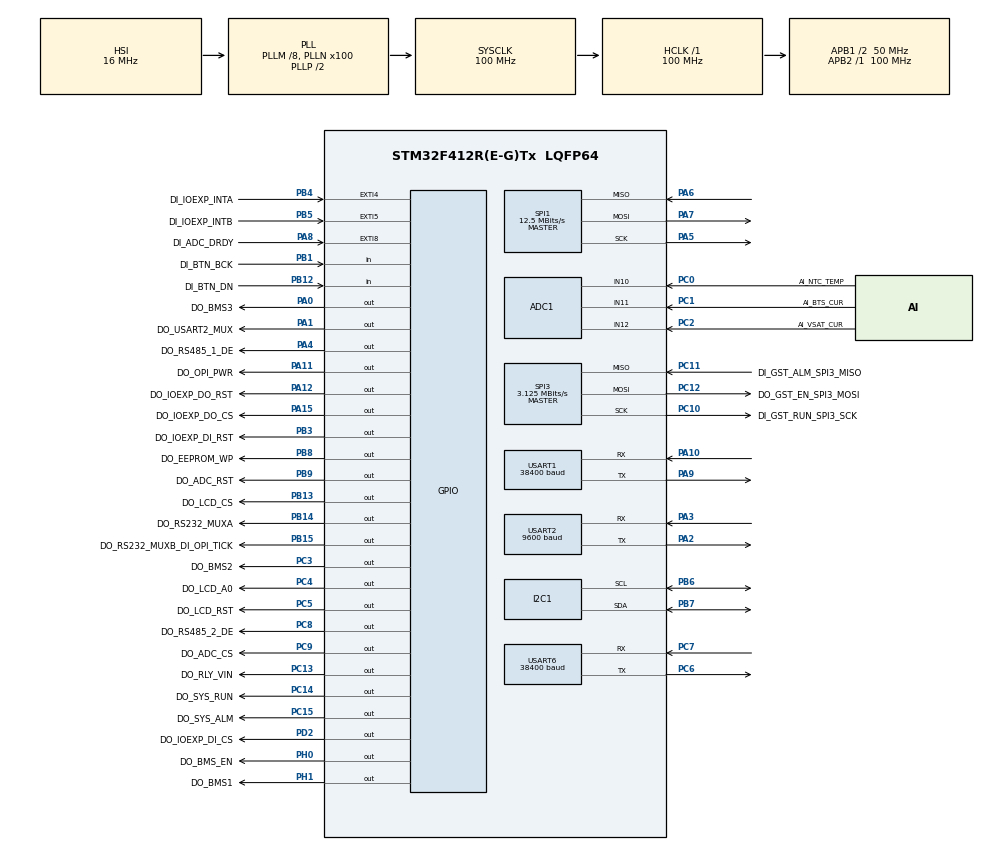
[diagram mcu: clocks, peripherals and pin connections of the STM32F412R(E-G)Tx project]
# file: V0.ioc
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ADC1.Channel-14\#ChannelRegularConversion=ADC_CHANNEL_10
ADC1.Channel-15\#ChannelRegularConversion=ADC_CHANNEL_11
ADC1.Channel-16\#ChannelRegularConversion=ADC_CHANNEL_12
ADC1.Channel-17\#ChannelRegularConversion=ADC_CHANNEL_TEMPSENSOR
ADC1.ClockPrescaler=ADC_CLOCK_SYNC_PCLK_DIV8
ADC1.ContinuousConvMode=ENABLE
ADC1.DMAContinuousRequests=ENABLE
ADC1.EOCSelection=ADC_EOC_SEQ_CONV
ADC1.NbrOfConversion=4
ADC1.NbrOfConversionFlag=1
ADC1.Rank-14\#ChannelRegularConversion=1
ADC1.Rank-15\#ChannelRegularConversion=2
ADC1.Rank-16\#ChannelRegularConversion=3
ADC1.Rank-17\#ChannelRegularConversion=4
ADC1.SamplingTime-14\#ChannelRegularConversion=ADC_SAMPLETIME_480CYCLES
ADC1.SamplingTime-15\#ChannelRegularConversion=ADC_SAMPLETIME_480CYCLES
ADC1.SamplingTime-16\#ChannelRegularConversion=ADC_SAMPLETIME_480CYCLES
ADC1.SamplingTime-17\#ChannelRegularConversion=ADC_SAMPLETIME_480CYCLES
ADC1.ScanConvMode=ENABLE
ADC1.master=1
Dma.ADC1.2.Direction=DMA_PERIPH_TO_MEMORY
Dma.ADC1.2.FIFOMode=DMA_FIFOMODE_DISABLE
Dma.ADC1.2.Instance=DMA2_Stream0
Dma.ADC1.2.MemDataAlignment=DMA_MDATAALIGN_WORD
Dma.ADC1.2.MemInc=DMA_MINC_ENABLE
Dma.ADC1.2.Mode=DMA_CIRCULAR
Dma.ADC1.2.PeriphDataAlignment=DMA_PDATAALIGN_WORD
Dma.ADC1.2.PeriphInc=DMA_PINC_DISABLE
Dma.ADC1.2.Priority=DMA_PRIORITY_LOW
Dma.Request0=USART1_TX
Dma.Request1=USART6_TX
Dma.Request2=ADC1
Dma.Request3=USART2_TX
Dma.Request4=SPI1_RX
Dma.Request5=SPI1_TX
Dma.SPI1_RX.4.Direction=DMA_PERIPH_TO_MEMORY
Dma.SPI1_RX.4.FIFOMode=DMA_FIFOMODE_DISABLE
Dma.SPI1_RX.4.Instance=DMA2_Stream2
Dma.SPI1_RX.4.MemDataAlignment=DMA_MDATAALIGN_BYTE
Dma.SPI1_RX.4.MemInc=DMA_MINC_ENABLE
Dma.SPI1_RX.4.Mode=DMA_NORMAL
Dma.SPI1_RX.4.PeriphDataAlignment=DMA_PDATAALIGN_BYTE
Dma.SPI1_RX.4.PeriphInc=DMA_PINC_DISABLE
Dma.SPI1_RX.4.Priority=DMA_PRIORITY_LOW
Dma.SPI1_TX.5.Direction=DMA_MEMORY_TO_PERIPH
Dma.SPI1_TX.5.FIFOMode=DMA_FIFOMODE_DISABLE
Dma.SPI1_TX.5.Instance=DMA2_Stream3
Dma.SPI1_TX.5.MemDataAlignment=DMA_MDATAALIGN_BYTE
Dma.SPI1_TX.5.MemInc=DMA_MINC_ENABLE
Dma.SPI1_TX.5.Mode=DMA_NORMAL
Dma.SPI1_TX.5.PeriphDataAlignment=DMA_PDATAALIGN_BYTE
Dma.SPI1_TX.5.PeriphInc=DMA_PINC_DISABLE
Dma.SPI1_TX.5.Priority=DMA_PRIORITY_LOW
Dma.USART1_TX.0.Direction=DMA_MEMORY_TO_PERIPH
Dma.USART1_TX.0.FIFOMode=DMA_FIFOMODE_DISABLE
Dma.USART1_TX.0.Instance=DMA2_Stream7
Dma.USART1_TX.0.MemDataAlignment=DMA_MDATAALIGN_BYTE
Dma.USART1_TX.0.MemInc=DMA_MINC_ENABLE
Dma.USART1_TX.0.Mode=DMA_NORMAL
Dma.USART1_TX.0.PeriphDataAlignment=DMA_PDATAALIGN_BYTE
Dma.USART1_TX.0.PeriphInc=DMA_PINC_DISABLE
Dma.USART1_TX.0.Priority=DMA_PRIORITY_LOW
Dma.USART2_TX.3.Direction=DMA_MEMORY_TO_PERIPH
Dma.USART2_TX.3.FIFOMode=DMA_FIFOMODE_DISABLE
Dma.USART2_TX.3.Instance=DMA1_Stream6
Dma.USART2_TX.3.MemDataAlignment=DMA_MDATAALIGN_BYTE
Dma.USART2_TX.3.MemInc=DMA_MINC_ENABLE
Dma.USART2_TX.3.Mode=DMA_NORMAL
Dma.USART2_TX.3.PeriphDataAlignment=DMA_PDATAALIGN_BYTE
Dma.USART2_TX.3.PeriphInc=DMA_PINC_DISABLE
Dma.USART2_TX.3.Priority=DMA_PRIORITY_LOW
Dma.USART6_TX.1.Direction=DMA_MEMORY_TO_PERIPH
Dma.USART6_TX.1.FIFOMode=DMA_FIFOMODE_DISABLE
Dma.USART6_TX.1.Instance=DMA2_Stream6
Dma.USART6_TX.1.MemDataAlignment=DMA_MDATAALIGN_BYTE
Dma.USART6_TX.1.MemInc=DMA_MINC_ENABLE
Dma.USART6_TX.1.Mode=DMA_NORMAL
Dma.USART6_TX.1.PeriphDataAlignment=DMA_PDATAALIGN_BYTE
Dma.USART6_TX.1.PeriphInc=DMA_PINC_DISABLE
Dma.USART6_TX.1.Priority=DMA_PRIORITY_LOW
IWDG.Prescaler=IWDG_PRESCALER_256
Mcu.Family=STM32F4
Mcu.Name=STM32F412R(E-G)Tx
Mcu.Package=LQFP64
NVIC.DMA1_Stream6_IRQn=true\:0\:0\:false\:false\:true\:false\:true
NVIC.DMA2_Stream0_IRQn=true\:0\:0\:true\:false\:true\:false\:true
NVIC.DMA2_Stream2_IRQn=true\:0\:0\:false\:false\:true\:false\:true
NVIC.DMA2_Stream3_IRQn=true\:0\:0\:false\:false\:true\:false\:true
NVIC.DMA2_Stream6_IRQn=true\:0\:0\:false\:false\:true\:false\:true
NVIC.DMA2_Stream7_IRQn=true\:0\:0\:false\:false\:true\:false\:true
NVIC.EXTI4_IRQn=true\:10\:0\:true\:false\:true\:true\:true
NVIC.EXTI9_5_IRQn=true\:10\:0\:true\:false\:true\:true\:true
NVIC.PriorityGroup=NVIC_PRIORITYGROUP_4
NVIC.SPI1_IRQn=true\:10\:0\:true\:false\:true\:true\:true
NVIC.TIM6_IRQn=true\:15\:0\:true\:false\:true\:true\:true
NVIC.USART1_IRQn=true\:14\:0\:true\:false\:true\:true\:true
NVIC.USART2_IRQn=true\:14\:0\:true\:false\:true\:true\:true
NVIC.USART6_IRQn=true\:14\:0\:true\:false\:true\:true\:true
PA0.GPIO_Label=DO_BMS3
PA0.Signal=GPIO_Output
PA1.GPIO_Label=DO_USART2_MUX
PA1.Signal=GPIO_Output
PA10.Mode=Asynchronous
PA10.Signal=USART1_RX
PA11.GPIO_Label=DO_OPI_PWR
PA11.Signal=GPIO_Output
PA12.GPIO_Label=DO_IOEXP_DO_RST
PA12.PinState=GPIO_PIN_SET
PA12.Signal=GPIO_Output
PA13.Mode=Serial_Wire
PA13.Signal=SYS_JTMS-SWDIO
PA14.Mode=Serial_Wire
PA14.Signal=SYS_JTCK-SWCLK
PA15.GPIO_Label=DO_IOEXP_DO_CS
PA15.PinState=GPIO_PIN_SET
PA15.Signal=GPIO_Output
PA2.Mode=Asynchronous
PA2.Signal=USART2_TX
PA3.Mode=Asynchronous
PA3.Signal=USART2_RX
PA4.GPIO_Label=DO_RS485_1_DE
PA4.Signal=GPIO_Output
PA5.GPIO_PuPd=GPIO_PULLDOWN
PA5.Mode=Full_Duplex_Master
PA5.Signal=SPI1_SCK
PA6.GPIO_PuPd=GPIO_PULLDOWN
PA6.Mode=Full_Duplex_Master
PA6.Signal=SPI1_MISO
PA7.GPIO_PuPd=GPIO_PULLDOWN
PA7.Mode=Full_Duplex_Master
PA7.Signal=SPI1_MOSI
PA8.GPIO_Label=DI_ADC_DRDY
PA8.GPIO_ModeDefaultEXTI=GPIO_MODE_IT_FALLING
PA8.Signal=GPXTI8
PA9.Mode=Asynchronous
PA9.Signal=USART1_TX
PB0.GPIO_Label=DI_BTN_OK_PM1_ZX
PB0.GPIO_Speed=GPIO_SPEED_FREQ_LOW
PB0.Signal=S_TIM3_CH3
PB1.GPIO_Label=DI_BTN_BCK
PB1.Signal=GPIO_Input
PB10.GPIO_Label=DI_BTN_UP_PM2_ZX
PB10.GPIO_PuPd=GPIO_PULLDOWN
PB10.GPIO_Speed=GPIO_SPEED_FREQ_LOW
PB10.Signal=S_TIM2_CH3
PB12.GPIO_Label=DI_BTN_DN
PB12.Signal=GPIO_Input
PB13.GPIO_Label=DO_LCD_CS
PB13.Signal=GPIO_Output
PB14.GPIO_Label=DO_RS232_MUXA
PB14.Signal=GPIO_Output
PB15.GPIO_Label=DO_RS232_MUXB_DI_OPI_TICK
PB15.Signal=GPIO_Output
PB3.GPIO_Label=DO_IOEXP_DI_RST
PB3.PinState=GPIO_PIN_SET
PB3.Signal=GPIO_Output
PB4.GPIO_Label=DI_IOEXP_INTA
PB4.GPIO_ModeDefaultEXTI=GPIO_MODE_IT_FALLING
PB4.Signal=GPXTI4
PB5.GPIO_Label=DI_IOEXP_INTB
PB5.GPIO_ModeDefaultEXTI=GPIO_MODE_IT_FALLING
PB5.Signal=GPXTI5
PB6.Mode=I2C
PB6.Signal=I2C1_SCL
PB7.Mode=I2C
PB7.Signal=I2C1_SDA
PB8.GPIO_Label=DO_EEPROM_WP
PB8.PinState=GPIO_PIN_SET
PB8.Signal=GPIO_Output
PB9.GPIO_Label=DO_ADC_RST
PB9.PinState=GPIO_PIN_SET
PB9.Signal=GPIO_Output
PC0.GPIO_Label=AI_NTC_TEMP
PC0.Signal=ADCx_IN10
PC1.GPIO_Label=AI_BTS_CUR
PC1.Signal=ADCx_IN11
PC10.GPIO_Label=DI_GST_RUN_SPI3_SCK
PC10.Mode=Full_Duplex_Master
PC10.Signal=SPI3_SCK
PC11.GPIO_Label=DI_GST_ALM_SPI3_MISO
PC11.Mode=Full_Duplex_Master
PC11.Signal=SPI3_MISO
PC12.GPIO_Label=DO_GST_EN_SPI3_MOSI
PC12.Mode=Full_Duplex_Master
PC12.Signal=SPI3_MOSI
PC13.GPIO_Label=DO_RLY_VIN
PC13.Signal=GPIO_Output
PC14-OSC32_IN.GPIO_Label=DO_SYS_RUN
PC14-OSC32_IN.Signal=GPIO_Output
PC15-OSC32_OUT.GPIO_Label=DO_SYS_ALM
PC15-OSC32_OUT.Signal=GPIO_Output
PC2.GPIO_Label=AI_VSAT_CUR
PC2.Signal=ADCx_IN12
PC3.GPIO_Label=DO_BMS2
PC3.Signal=GPIO_Output
PC4.GPIO_Label=DO_LCD_A0
PC4.Signal=GPIO_Output
PC5.GPIO_Label=DO_LCD_RST
PC5.Signal=GPIO_Output
PC6.Mode=Asynchronous
PC6.Signal=USART6_TX
PC7.Mode=Asynchronous
PC7.Signal=USART6_RX
PC8.GPIO_Label=DO_RS485_2_DE
PC8.Signal=GPIO_Output
PC9.GPIO_Label=DO_ADC_CS
PC9.GPIO_ModeDefaultOutputPP=GPIO_MODE_OUTPUT_PP
PC9.GPIO_PuPd=GPIO_NOPULL
PC9.GPIO_Speed=GPIO_SPEED_FREQ_VERY_HIGH
PC9.PinState=GPIO_PIN_SET
PC9.Signal=GPIO_Output
PD2.GPIO_Label=DO_IOEXP_DI_CS
PD2.PinState=GPIO_PIN_SET
PD2.Signal=GPIO_Output
PH0\ -\ OSC_IN.GPIO_Label=DO_BMS_EN
PH0\ -\ OSC_IN.Signal=GPIO_Output
PH1\ -\ OSC_OUT.GPIO_Label=DO_BMS1
PH1\ -\ OSC_OUT.Signal=GPIO_Output
ProjectManager.HeapSize=0x200
ProjectManager.StackSize=0x400
ProjectManager.TargetToolchain=STM32CubeIDE
RCC.AHBFreq_Value=100000000
RCC.APB1CLKDivider=RCC_HCLK_DIV2
RCC.APB1Freq_Value=50000000
RCC.APB1TimFreq_Value=100000000
RCC.APB2Freq_Value=100000000
RCC.APB2TimFreq_Value=100000000
RCC.CortexFreq_Value=100000000
RCC.HCLKFreq_Value=100000000
RCC.HSE_VALUE=16000000
RCC.PLLM=8
RCC.PLLN=100
RCC.SYSCLKFreq_VALUE=100000000
RCC.SYSCLKSource=RCC_SYSCLKSOURCE_PLLCLK
RCC.USBFreq_Value=100000000
RCC.VCOOutputFreq_Value=200000000
SH.ADCx_IN10.0=ADC1_IN10,IN10
SH.ADCx_IN11.0=ADC1_IN11,IN11
SH.ADCx_IN12.0=ADC1_IN12,IN12
SH.S_TIM2_CH3.0=TIM2_CH3
SH.S_TIM3_CH3.0=TIM3_CH3
SPI1.BaudRatePrescaler=SPI_BAUDRATEPRESCALER_8
SPI1.CLKPhase=SPI_PHASE_2EDGE
SPI1.CLKPolarity=SPI_POLARITY_LOW
SPI1.CalculateBaudRate=12.5 MBits/s
SPI1.Direction=SPI_DIRECTION_2LINES
SPI1.Mode=SPI_MODE_MASTER
SPI1.VirtualType=VM_MASTER
SPI3.BaudRatePrescaler=SPI_BAUDRATEPRESCALER_16
SPI3.CLKPhase=SPI_PHASE_1EDGE
SPI3.CalculateBaudRate=3.125 MBits/s
SPI3.Direction=SPI_DIRECTION_2LINES
SPI3.Mode=SPI_MODE_MASTER
SPI3.VirtualType=VM_MASTER
TIM6.Period=1000
TIM6.Prescaler=99
TIM7.Prescaler=99
USART1.BaudRate=38400
USART1.VirtualMode=VM_ASYNC
USART2.BaudRate=9600
USART2.VirtualMode=VM_ASYNC
USART6.BaudRate=38400
USART6.VirtualMode=VM_ASYNC
VP_ADC1_TempSens_Input.Mode=IN-TempSens
VP_IWDG_VS_IWDG.Mode=IWDG_Activate
VP_TIM6_VS_ClockSourceINT.Mode=Enable_Timer
VP_TIM7_VS_ClockSourceINT.Mode=Enable_Timer
board=custom

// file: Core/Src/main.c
/* USER CODE BEGIN Header */
/**
  ******************************************************************************
  * @file           : main.c
  * @brief          : Main program body
  ******************************************************************************
  * @attention
  *
  * Copyright (c) 2026 STMicroelectronics.
  * All rights reserved.
  *
  * This software is licensed under terms that can be found in the LICENSE file
  * in the root directory of this software component.
  * If no LICENSE file comes with this software, it is provided AS-IS.
  *
  ******************************************************************************
  */
/* USER CODE END Header */
#include "main.h"

/* USER CODE BEGIN Includes */
#include "eeprom_24lc08.h"
#include "ads1115.h"
#include "mcp4725.h"
#include "mcp23s17.h"
#include "ads131m04.h"
#include "modbus_slave.h"
#include "modbus_master.h"
#include "i2c_scan.h"
/* USER CODE END Includes */

ADC_HandleTypeDef hadc1;
DMA_HandleTypeDef hdma_adc1;

I2C_HandleTypeDef hi2c1;

IWDG_HandleTypeDef hiwdg;

SPI_HandleTypeDef hspi1;
SPI_HandleTypeDef hspi3;
DMA_HandleTypeDef hdma_spi1_rx;
DMA_HandleTypeDef hdma_spi1_tx;

TIM_HandleTypeDef htim6;
TIM_HandleTypeDef htim7;

UART_HandleTypeDef huart1;
UART_HandleTypeDef huart2;
UART_HandleTypeDef huart6;
DMA_HandleTypeDef hdma_usart1_tx;
DMA_HandleTypeDef hdma_usart2_tx;
DMA_HandleTypeDef hdma_usart6_tx;

void SystemClock_Config(void);
static void MX_GPIO_Init(void);
static void MX_DMA_Init(void);
static void MX_ADC1_Init(void);
static void MX_USART1_UART_Init(void);
static void MX_USART6_UART_Init(void);
static void MX_I2C1_Init(void);
static void MX_IWDG_Init(void);
static void MX_SPI1_Init(void);
static void MX_SPI3_Init(void);
static void MX_TIM6_Init(void);
static void MX_USART2_UART_Init(void);
static void MX_TIM7_Init(void);

int main(void)
{

  /* MCU Configuration--------------------------------------------------------*/

  /* Reset of all peripherals, Initializes the Flash interface and the Systick. */
  HAL_Init();

  /* Configure the system clock */
  SystemClock_Config();

  /* USER CODE BEGIN SysInit */
#ifdef DEBUG
  /* IWDG default TETAP berjalan saat core di-halt debugger. Tanpa freeze ini,
     berhenti di breakpoint lebih dari ~33 s memicu reset dan memutus sesi
     debug. Hanya untuk build Debug. */
  __HAL_DBGMCU_FREEZE_IWDG();
#endif
  /* USER CODE END SysInit */

  /* Initialize all configured peripherals */
  MX_GPIO_Init();
  MX_DMA_Init();
  MX_ADC1_Init();
  MX_USART1_UART_Init();
  MX_USART6_UART_Init();
  MX_I2C1_Init();
  MX_IWDG_Init();
  MX_SPI1_Init();
  MX_SPI3_Init();
  MX_TIM6_Init();
  MX_USART2_UART_Init();
  MX_TIM7_Init();
  /* USER CODE BEGIN 2 */
  /* Pindai bus dulu, sebelum device apa pun disentuh - hasilnya di
     g_i2c_found[] / g_i2c_found_count (lihat Live Expressions). */
  I2C_ScanInit(&hi2c1);
  I2C_ScanRun();

  EE_Init(&hi2c1);

  /* Hasil kedua baris ini langsung terbaca di Live Expressions:
       g_ee_present     -> 1 = chip menjawab di bus I2C
       g_ee_last_result -> 0 = EE_OK, tulis/baca/verifikasi sukses */
  g_ee_present     = (uint8_t)(EE_IsReady() ? 1U : 0U);
  g_ee_last_result = (int8_t)EE_SelfTest();

  /* --- Device lain di bus I2C1 yang sama --- */
  ADS_Init(&hi2c1);
  MCP_Init(&hi2c1);

  g_ads_present = (uint8_t)(ADS_IsReady() ? 1U : 0U);
  g_dac_present = (uint8_t)(MCP_IsReady() ? 1U : 0U);

  /* --- SPI3: MCP23S17 chip Digital Output (CS=PA15, RST=PA12) ---
       8 kanal relay di PORT A (GPA0..GPA7), dikendalikan lewat array g_do[].
       Baca hasilnya di Live Expressions:
         g_dout_present     -> 1 = self-test SPI lulus (tulis-baca register)
         g_dout_last_result -> 0 = IOX_OK
         g_dout_iocon_rb    -> harus 0x00
       Setelah ini semua kanal jadi output dengan nilai 0. */
  (void)DOUT_Init(&hspi3);

  /* --- SPI3: MCP23S17 chip Digital Input (CS=PD2, RST=PB3) ---
       16 kanal: PORT A -> g_di_a[0..7], PORT B -> g_di_b[0..7].
       Pull-up internal aktif semua (g_di_pullup = 0xFFFF), polling tiap
       g_di_poll_ms. Baca g_di_present / g_di_last_result untuk statusnya. */
  (void)DIN_Init(&hspi3);

  /* --- SPI1: ADS131M04 (CS=PC9, RST=PB9, DRDY=PA8) ---
       4 kanal simultan: Rect V/I dan Batt V/I. Akuisisi dipicu DRDY lalu
       dibaca DMA; init sekaligus menyalakan akuisisi.
       Bring-up - baca di Live Expressions:
         g_adc_present      -> 1 = tulis-baca register terverifikasi
         g_adc_sps_measured -> laju sampel NYATA, menjawab CLKIN board
         g_adc_id_reg       -> ID mentah, dicatat untuk dokumentasi */
  (void)ADC_Init(&hspi1);

  /* --- USART6: Modbus RTU Slave untuk HMI (RS485, DE=PC8, 38400 8-N-1) ---
       Alamat slave default 1. Batas frame dideteksi lewat IDLE line UART.
       Pantau di Live Expressions: g_mb_hmi.rx_frame_count / tx_frame_count /
       crc_err_count / last_fc / last_exception. */
  MB_HmiInit(&huart6);

  /* --- USART2: Modbus RTU Master (RS485, DE=PA4, 9600 8-N-1) ---
       Polling Power Meter ADE7868A tiap g_mbm_poll_ms. Hasil terurai ada di
       g_pm_phase[0..2], g_pm_frequency, g_pm_energy_wh[]. Status jalur:
       g_pm_online / g_pm_timeout_count / g_pm_last_exception. */
  MBM_Init(&huart2);

  /* --- USART1: Modbus RTU Slave untuk Orange Pi Zero3 (TTL 3V3, 38400 8-N-1) ---
       Tanpa transceiver, jadi tidak ada pin DE. Berbagi peta register yang
       sama persis dengan slave HMI - g_mb_input[] dan g_mb_hold[]. */
  MB_OpiInit(&huart1);
  /* USER CODE END 2 */

  /* Infinite loop */
  while (1)
  {

    /* USER CODE BEGIN 3 */
    /* Eksekusi perintah yang di-set dari Live Expressions (g_ee_cmd) */
    EE_Task();

    /* Akuisisi LOAD V / LOAD I bergantian - non-blocking */
    ADS_Task();

    /* Ikuti perubahan g_dac_setpoint + eksekusi g_dac_cmd */
    MCP_Task();

    /* Ikuti perubahan g_do[0..7] + eksekusi g_dout_cmd */
    DOUT_Task();

    /* Polling 16 kanal digital input + eksekusi g_di_cmd */
    DIN_Task();

    /* Rata-rata + konversi hasil ADS131M04 + eksekusi g_adc_cmd */
    ADC_Task();

    /* Layani permintaan Modbus dari HMI */
    MB_HmiTask();

    /* Layani permintaan Modbus dari Orange Pi */
    MB_OpiTask();

    /* Polling Power Meter + ST36 lewat Modbus master */
    MBM_Task();

    /* IWDG aktif sejak MX_IWDG_Init() dengan timeout ~32.8 s. Tanpa refresh
       ini board reset sendiri secara periodik. */
    HAL_IWDG_Refresh(&hiwdg);
  }
  /* USER CODE END 3 */
}

void SystemClock_Config(void)
{
  RCC_OscInitTypeDef RCC_OscInitStruct = {0};
  RCC_ClkInitTypeDef RCC_ClkInitStruct = {0};

  /** Configure the main internal regulator output voltage
  */
  __HAL_RCC_PWR_CLK_ENABLE();
  __HAL_PWR_VOLTAGESCALING_CONFIG(PWR_REGULATOR_VOLTAGE_SCALE1);
  /** Initializes the RCC Oscillators according to the specified parameters
  * in the RCC_OscInitTypeDef structure.
  */
  RCC_OscInitStruct.OscillatorType = RCC_OSCILLATORTYPE_HSI|RCC_OSCILLATORTYPE_LSI;
  RCC_OscInitStruct.HSIState = RCC_HSI_ON;
  RCC_OscInitStruct.HSICalibrationValue = RCC_HSICALIBRATION_DEFAULT;
  RCC_OscInitStruct.LSIState = RCC_LSI_ON;
  RCC_OscInitStruct.PLL.PLLState = RCC_PLL_ON;
  RCC_OscInitStruct.PLL.PLLSource = RCC_PLLSOURCE_HSI;
  RCC_OscInitStruct.PLL.PLLM = 8;
  RCC_OscInitStruct.PLL.PLLN = 100;
  RCC_OscInitStruct.PLL.PLLP = RCC_PLLP_DIV2;
  RCC_OscInitStruct.PLL.PLLQ = 2;
  RCC_OscInitStruct.PLL.PLLR = 2;
  if (HAL_RCC_OscConfig(&RCC_OscInitStruct) != HAL_OK)
  {
    Error_Handler();
  }
  /** Initializes the CPU, AHB and APB buses clocks
  */
  RCC_ClkInitStruct.ClockType = RCC_CLOCKTYPE_HCLK|RCC_CLOCKTYPE_SYSCLK
                              |RCC_CLOCKTYPE_PCLK1|RCC_CLOCKTYPE_PCLK2;
  RCC_ClkInitStruct.SYSCLKSource = RCC_SYSCLKSOURCE_PLLCLK;
  RCC_ClkInitStruct.AHBCLKDivider = RCC_SYSCLK_DIV1;
  RCC_ClkInitStruct.APB1CLKDivider = RCC_HCLK_DIV2;
  RCC_ClkInitStruct.APB2CLKDivider = RCC_HCLK_DIV1;

  if (HAL_RCC_ClockConfig(&RCC_ClkInitStruct, FLASH_LATENCY_3) != HAL_OK)
  {
    Error_Handler();
  }
}

static void MX_ADC1_Init(void)
{

  ADC_ChannelConfTypeDef sConfig = {0};

  /** Configure the global features of the ADC (Clock, Resolution, Data Alignment and number of conversion)
  */
  hadc1.Instance = ADC1;
  hadc1.Init.ClockPrescaler = ADC_CLOCK_SYNC_PCLK_DIV8;
  hadc1.Init.Resolution = ADC_RESOLUTION_12B;
  hadc1.Init.ScanConvMode = ENABLE;
  hadc1.Init.ContinuousConvMode = ENABLE;
  hadc1.Init.DiscontinuousConvMode = DISABLE;
  hadc1.Init.ExternalTrigConvEdge = ADC_EXTERNALTRIGCONVEDGE_NONE;
  hadc1.Init.ExternalTrigConv = ADC_SOFTWARE_START;
  hadc1.Init.DataAlign = ADC_DATAALIGN_RIGHT;
  hadc1.Init.NbrOfConversion = 4;
  hadc1.Init.DMAContinuousRequests = ENABLE;
  hadc1.Init.EOCSelection = ADC_EOC_SEQ_CONV;
  if (HAL_ADC_Init(&hadc1) != HAL_OK)
  {
    Error_Handler();
  }
  /** Configure for the selected ADC regular channel its corresponding rank in the sequencer and its sample time.
  */
  sConfig.Channel = ADC_CHANNEL_10;
  sConfig.Rank = 1;
  sConfig.SamplingTime = ADC_SAMPLETIME_480CYCLES;
  if (HAL_ADC_ConfigChannel(&hadc1, &sConfig) != HAL_OK)
  {
    Error_Handler();
  }
  /** Configure for the selected ADC regular channel its corresponding rank in the sequencer and its sample time.
  */
  sConfig.Channel = ADC_CHANNEL_11;
  sConfig.Rank = 2;
  if (HAL_ADC_ConfigChannel(&hadc1, &sConfig) != HAL_OK)
  {
    Error_Handler();
  }
  /** Configure for the selected ADC regular channel its corresponding rank in the sequencer and its sample time.
  */
  sConfig.Channel = ADC_CHANNEL_12;
  sConfig.Rank = 3;
  if (HAL_ADC_ConfigChannel(&hadc1, &sConfig) != HAL_OK)
  {
    Error_Handler();
  }
  /** Configure for the selected ADC regular channel its corresponding rank in the sequencer and its sample time.
  */
  sConfig.Channel = ADC_CHANNEL_TEMPSENSOR;
  sConfig.Rank = 4;
  if (HAL_ADC_ConfigChannel(&hadc1, &sConfig) != HAL_OK)
  {
    Error_Handler();
  }

}

static void MX_I2C1_Init(void)
{

  hi2c1.Instance = I2C1;
  hi2c1.Init.ClockSpeed = 100000;
  hi2c1.Init.DutyCycle = I2C_DUTYCYCLE_2;
  hi2c1.Init.OwnAddress1 = 0;
  hi2c1.Init.AddressingMode = I2C_ADDRESSINGMODE_7BIT;
  hi2c1.Init.DualAddressMode = I2C_DUALADDRESS_DISABLE;
  hi2c1.Init.OwnAddress2 = 0;
  hi2c1.Init.GeneralCallMode = I2C_GENERALCALL_DISABLE;
  hi2c1.Init.NoStretchMode = I2C_NOSTRETCH_DISABLE;
  if (HAL_I2C_Init(&hi2c1) != HAL_OK)
  {
    Error_Handler();
  }

}

static void MX_IWDG_Init(void)
{

  hiwdg.Instance = IWDG;
  hiwdg.Init.Prescaler = IWDG_PRESCALER_256;
  hiwdg.Init.Reload = 4095;
  if (HAL_IWDG_Init(&hiwdg) != HAL_OK)
  {
    Error_Handler();
  }

}

static void MX_SPI1_Init(void)
{

  /* SPI1 parameter configuration*/
  hspi1.Instance = SPI1;
  hspi1.Init.Mode = SPI_MODE_MASTER;
  hspi1.Init.Direction = SPI_DIRECTION_2LINES;
  hspi1.Init.DataSize = SPI_DATASIZE_8BIT;
  hspi1.Init.CLKPolarity = SPI_POLARITY_LOW;
  hspi1.Init.CLKPhase = SPI_PHASE_2EDGE;
  hspi1.Init.NSS = SPI_NSS_SOFT;
  hspi1.Init.BaudRatePrescaler = SPI_BAUDRATEPRESCALER_8;
  hspi1.Init.FirstBit = SPI_FIRSTBIT_MSB;
  hspi1.Init.TIMode = SPI_TIMODE_DISABLE;
  hspi1.Init.CRCCalculation = SPI_CRCCALCULATION_DISABLE;
  hspi1.Init.CRCPolynomial = 10;
  if (HAL_SPI_Init(&hspi1) != HAL_OK)
  {
    Error_Handler();
  }

}

static void MX_SPI3_Init(void)
{

  /* SPI3 parameter configuration*/
  hspi3.Instance = SPI3;
  hspi3.Init.Mode = SPI_MODE_MASTER;
  hspi3.Init.Direction = SPI_DIRECTION_2LINES;
  hspi3.Init.DataSize = SPI_DATASIZE_8BIT;
  hspi3.Init.CLKPolarity = SPI_POLARITY_LOW;
  hspi3.Init.CLKPhase = SPI_PHASE_1EDGE;
  hspi3.Init.NSS = SPI_NSS_SOFT;
  hspi3.Init.BaudRatePrescaler = SPI_BAUDRATEPRESCALER_16;
  hspi3.Init.FirstBit = SPI_FIRSTBIT_MSB;
  hspi3.Init.TIMode = SPI_TIMODE_DISABLE;
  hspi3.Init.CRCCalculation = SPI_CRCCALCULATION_DISABLE;
  hspi3.Init.CRCPolynomial = 10;
  if (HAL_SPI_Init(&hspi3) != HAL_OK)
  {
    Error_Handler();
  }

}

static void MX_TIM6_Init(void)
{

  TIM_MasterConfigTypeDef sMasterConfig = {0};

  htim6.Instance = TIM6;
  htim6.Init.Prescaler = 99;
  htim6.Init.CounterMode = TIM_COUNTERMODE_UP;
  htim6.Init.Period = 1000;
  htim6.Init.AutoReloadPreload = TIM_AUTORELOAD_PRELOAD_DISABLE;
  if (HAL_TIM_Base_Init(&htim6) != HAL_OK)
  {
    Error_Handler();
  }
  sMasterConfig.MasterOutputTrigger = TIM_TRGO_RESET;
  sMasterConfig.MasterSlaveMode = TIM_MASTERSLAVEMODE_DISABLE;
  if (HAL_TIMEx_MasterConfigSynchronization(&htim6, &sMasterConfig) != HAL_OK)
  {
    Error_Handler();
  }

}

static void MX_TIM7_Init(void)
{

  htim7.Instance = TIM7;
  htim7.Init.Prescaler = 99;
  htim7.Init.CounterMode = TIM_COUNTERMODE_UP;
  htim7.Init.Period = 65535;
  htim7.Init.AutoReloadPreload = TIM_AUTORELOAD_PRELOAD_DISABLE;
  if (HAL_TIM_Base_Init(&htim7) != HAL_OK)
  {
    Error_Handler();
  }

}

static void MX_USART1_UART_Init(void)
{

  huart1.Instance = USART1;
  huart1.Init.BaudRate = 38400;
  huart1.Init.WordLength = UART_WORDLENGTH_8B;
  huart1.Init.StopBits = UART_STOPBITS_1;
  huart1.Init.Parity = UART_PARITY_NONE;
  huart1.Init.Mode = UART_MODE_TX_RX;
  huart1.Init.HwFlowCtl = UART_HWCONTROL_NONE;
  huart1.Init.OverSampling = UART_OVERSAMPLING_16;
  if (HAL_UART_Init(&huart1) != HAL_OK)
  {
    Error_Handler();
  }

}

static void MX_USART2_UART_Init(void)
{

  huart2.Instance = USART2;
  huart2.Init.BaudRate = 9600;
  huart2.Init.WordLength = UART_WORDLENGTH_8B;
  huart2.Init.StopBits = UART_STOPBITS_1;
  huart2.Init.Parity = UART_PARITY_NONE;
  huart2.Init.Mode = UART_MODE_TX_RX;
  huart2.Init.HwFlowCtl = UART_HWCONTROL_NONE;
  huart2.Init.OverSampling = UART_OVERSAMPLING_16;
  if (HAL_UART_Init(&huart2) != HAL_OK)
  {
    Error_Handler();
  }

}

static void MX_USART6_UART_Init(void)
{

  huart6.Instance = USART6;
  huart6.Init.BaudRate = 38400;
  huart6.Init.WordLength = UART_WORDLENGTH_8B;
  huart6.Init.StopBits = UART_STOPBITS_1;
  huart6.Init.Parity = UART_PARITY_NONE;
  huart6.Init.Mode = UART_MODE_TX_RX;
  huart6.Init.HwFlowCtl = UART_HWCONTROL_NONE;
  huart6.Init.OverSampling = UART_OVERSAMPLING_16;
  if (HAL_UART_Init(&huart6) != HAL_OK)
  {
    Error_Handler();
  }

}

static void MX_DMA_Init(void)
{

  /* DMA controller clock enable */
  __HAL_RCC_DMA2_CLK_ENABLE();
  __HAL_RCC_DMA1_CLK_ENABLE();

  /* DMA interrupt init */
  /* DMA1_Stream6_IRQn interrupt configuration */
  HAL_NVIC_SetPriority(DMA1_Stream6_IRQn, 0, 0);
  HAL_NVIC_EnableIRQ(DMA1_Stream6_IRQn);
  /* DMA2_Stream0_IRQn interrupt configuration */
  HAL_NVIC_SetPriority(DMA2_Stream0_IRQn, 0, 0);
  HAL_NVIC_EnableIRQ(DMA2_Stream0_IRQn);
  /* DMA2_Stream2_IRQn interrupt configuration */
  HAL_NVIC_SetPriority(DMA2_Stream2_IRQn, 0, 0);
  HAL_NVIC_EnableIRQ(DMA2_Stream2_IRQn);
  /* DMA2_Stream3_IRQn interrupt configuration */
  HAL_NVIC_SetPriority(DMA2_Stream3_IRQn, 0, 0);
  HAL_NVIC_EnableIRQ(DMA2_Stream3_IRQn);
  /* DMA2_Stream6_IRQn interrupt configuration */
  HAL_NVIC_SetPriority(DMA2_Stream6_IRQn, 0, 0);
  HAL_NVIC_EnableIRQ(DMA2_Stream6_IRQn);
  /* DMA2_Stream7_IRQn interrupt configuration */
  HAL_NVIC_SetPriority(DMA2_Stream7_IRQn, 0, 0);
  HAL_NVIC_EnableIRQ(DMA2_Stream7_IRQn);

}

static void MX_GPIO_Init(void)
{
  GPIO_InitTypeDef GPIO_InitStruct = {0};

  /* GPIO Ports Clock Enable */
  __HAL_RCC_GPIOC_CLK_ENABLE();
  __HAL_RCC_GPIOH_CLK_ENABLE();
  __HAL_RCC_GPIOA_CLK_ENABLE();
  __HAL_RCC_GPIOB_CLK_ENABLE();
  __HAL_RCC_GPIOD_CLK_ENABLE();

  /*Configure GPIO pin Output Level */
  HAL_GPIO_WritePin(GPIOC, DO_RLY_VIN_Pin|DO_SYS_RUN_Pin|DO_SYS_ALM_Pin|DO_BMS2_Pin
                          |DO_LCD_A0_Pin|DO_LCD_RST_Pin|DO_RS485_2_DE_Pin, GPIO_PIN_RESET);

  /*Configure GPIO pin Output Level */
  HAL_GPIO_WritePin(GPIOH, DO_BMS_EN_Pin|DO_BMS1_Pin, GPIO_PIN_RESET);

  /*Configure GPIO pin Output Level */
  HAL_GPIO_WritePin(GPIOA, DO_BMS3_Pin|DO_USART2_MUX_Pin|DO_RS485_1_DE_Pin|DO_OPI_PWR_Pin, GPIO_PIN_RESET);

  /*Configure GPIO pin Output Level */
  HAL_GPIO_WritePin(GPIOB, DO_LCD_CS_Pin|DO_RS232_MUXA_Pin|DO_RS232_MUXB_DI_OPI_TICK_Pin, GPIO_PIN_RESET);

  /*Configure GPIO pin Output Level */
  HAL_GPIO_WritePin(DO_ADC_CS_GPIO_Port, DO_ADC_CS_Pin, GPIO_PIN_SET);

  /*Configure GPIO pin Output Level */
  HAL_GPIO_WritePin(GPIOA, DO_IOEXP_DO_RST_Pin|DO_IOEXP_DO_CS_Pin, GPIO_PIN_SET);

  /*Configure GPIO pin Output Level */
  HAL_GPIO_WritePin(DO_IOEXP_DI_CS_GPIO_Port, DO_IOEXP_DI_CS_Pin, GPIO_PIN_SET);

  /*Configure GPIO pin Output Level */
  HAL_GPIO_WritePin(GPIOB, DO_IOEXP_DI_RST_Pin|DO_EEPROM_WP_Pin|DO_ADC_RST_Pin, GPIO_PIN_SET);

  /*Configure GPIO pins : DO_RLY_VIN_Pin DO_SYS_RUN_Pin DO_SYS_ALM_Pin DO_BMS2_Pin
                           DO_LCD_A0_Pin DO_LCD_RST_Pin DO_RS485_2_DE_Pin */
  GPIO_InitStruct.Pin = DO_RLY_VIN_Pin|DO_SYS_RUN_Pin|DO_SYS_ALM_Pin|DO_BMS2_Pin
                          |DO_LCD_A0_Pin|DO_LCD_RST_Pin|DO_RS485_2_DE_Pin;
  GPIO_InitStruct.Mode = GPIO_MODE_OUTPUT_PP;
  GPIO_InitStruct.Pull = GPIO_NOPULL;
  GPIO_InitStruct.Speed = GPIO_SPEED_FREQ_LOW;
  HAL_GPIO_Init(GPIOC, &GPIO_InitStruct);

  /*Configure GPIO pins : DO_BMS_EN_Pin DO_BMS1_Pin */
  GPIO_InitStruct.Pin = DO_BMS_EN_Pin|DO_BMS1_Pin;
  GPIO_InitStruct.Mode = GPIO_MODE_OUTPUT_PP;
  GPIO_InitStruct.Pull = GPIO_NOPULL;
  GPIO_InitStruct.Speed = GPIO_SPEED_FREQ_LOW;
  HAL_GPIO_Init(GPIOH, &GPIO_InitStruct);

  /*Configure GPIO pins : DO_BMS3_Pin DO_USART2_MUX_Pin DO_RS485_1_DE_Pin DO_OPI_PWR_Pin
                           DO_IOEXP_DO_RST_Pin DO_IOEXP_DO_CS_Pin */
  GPIO_InitStruct.Pin = DO_BMS3_Pin|DO_USART2_MUX_Pin|DO_RS485_1_DE_Pin|DO_OPI_PWR_Pin
                          |DO_IOEXP_DO_RST_Pin|DO_IOEXP_DO_CS_Pin;
  GPIO_InitStruct.Mode = GPIO_MODE_OUTPUT_PP;
  GPIO_InitStruct.Pull = GPIO_NOPULL;
  GPIO_InitStruct.Speed = GPIO_SPEED_FREQ_LOW;
  HAL_GPIO_Init(GPIOA, &GPIO_InitStruct);

  /*Configure GPIO pin : DI_BTN_OK_PM1_ZX_Pin */
  GPIO_InitStruct.Pin = DI_BTN_OK_PM1_ZX_Pin;
  GPIO_InitStruct.Mode = GPIO_MODE_AF_PP;
  GPIO_InitStruct.Pull = GPIO_NOPULL;
  GPIO_InitStruct.Speed = GPIO_SPEED_FREQ_LOW;
  GPIO_InitStruct.Alternate = GPIO_AF2_TIM3;
  HAL_GPIO_Init(DI_BTN_OK_PM1_ZX_GPIO_Port, &GPIO_InitStruct);

  /*Configure GPIO pins : DI_BTN_BCK_Pin DI_BTN_DN_Pin */
  GPIO_InitStruct.Pin = DI_BTN_BCK_Pin|DI_BTN_DN_Pin;
  GPIO_InitStruct.Mode = GPIO_MODE_INPUT;
  GPIO_InitStruct.Pull = GPIO_NOPULL;
  HAL_GPIO_Init(GPIOB, &GPIO_InitStruct);

  /*Configure GPIO pin : DI_BTN_UP_PM2_ZX_Pin */
  GPIO_InitStruct.Pin = DI_BTN_UP_PM2_ZX_Pin;
  GPIO_InitStruct.Mode = GPIO_MODE_AF_PP;
  GPIO_InitStruct.Pull = GPIO_PULLDOWN;
  GPIO_InitStruct.Speed = GPIO_SPEED_FREQ_LOW;
  GPIO_InitStruct.Alternate = GPIO_AF1_TIM2;
  HAL_GPIO_Init(DI_BTN_UP_PM2_ZX_GPIO_Port, &GPIO_InitStruct);

  /*Configure GPIO pins : DO_LCD_CS_Pin DO_RS232_MUXA_Pin DO_RS232_MUXB_DI_OPI_TICK_Pin DO_IOEXP_DI_RST_Pin
                           DO_EEPROM_WP_Pin DO_ADC_RST_Pin */
  GPIO_InitStruct.Pin = DO_LCD_CS_Pin|DO_RS232_MUXA_Pin|DO_RS232_MUXB_DI_OPI_TICK_Pin|DO_IOEXP_DI_RST_Pin
                          |DO_EEPROM_WP_Pin|DO_ADC_RST_Pin;
  GPIO_InitStruct.Mode = GPIO_MODE_OUTPUT_PP;
  GPIO_InitStruct.Pull = GPIO_NOPULL;
  GPIO_InitStruct.Speed = GPIO_SPEED_FREQ_LOW;
  HAL_GPIO_Init(GPIOB, &GPIO_InitStruct);

  /*Configure GPIO pin : DO_ADC_CS_Pin */
  GPIO_InitStruct.Pin = DO_ADC_CS_Pin;
  GPIO_InitStruct.Mode = GPIO_MODE_OUTPUT_PP;
  GPIO_InitStruct.Pull = GPIO_NOPULL;
  GPIO_InitStruct.Speed = GPIO_SPEED_FREQ_VERY_HIGH;
  HAL_GPIO_Init(DO_ADC_CS_GPIO_Port, &GPIO_InitStruct);

  /*Configure GPIO pin : DI_ADC_DRDY_Pin */
  GPIO_InitStruct.Pin = DI_ADC_DRDY_Pin;
  GPIO_InitStruct.Mode = GPIO_MODE_IT_FALLING;
  GPIO_InitStruct.Pull = GPIO_NOPULL;
  HAL_GPIO_Init(DI_ADC_DRDY_GPIO_Port, &GPIO_InitStruct);

  /*Configure GPIO pin : DO_IOEXP_DI_CS_Pin */
  GPIO_InitStruct.Pin = DO_IOEXP_DI_CS_Pin;
  GPIO_InitStruct.Mode = GPIO_MODE_OUTPUT_PP;
  GPIO_InitStruct.Pull = GPIO_NOPULL;
  GPIO_InitStruct.Speed = GPIO_SPEED_FREQ_LOW;
  HAL_GPIO_Init(DO_IOEXP_DI_CS_GPIO_Port, &GPIO_InitStruct);

  /*Configure GPIO pins : DI_IOEXP_INTA_Pin DI_IOEXP_INTB_Pin */
  GPIO_InitStruct.Pin = DI_IOEXP_INTA_Pin|DI_IOEXP_INTB_Pin;
  GPIO_InitStruct.Mode = GPIO_MODE_IT_FALLING;
  GPIO_InitStruct.Pull = GPIO_NOPULL;
  HAL_GPIO_Init(GPIOB, &GPIO_InitStruct);

  /* EXTI interrupt init*/
  HAL_NVIC_SetPriority(EXTI4_IRQn, 10, 0);
  HAL_NVIC_EnableIRQ(EXTI4_IRQn);

  HAL_NVIC_SetPriority(EXTI9_5_IRQn, 10, 0);
  HAL_NVIC_EnableIRQ(EXTI9_5_IRQn);

}

/* USER CODE BEGIN 4 */

/**
  * @brief  Callback EXTI bersama untuk SELURUH pin interrupt di board.
  *
  * HAL hanya menyediakan satu callback untuk semua jalur EXTI, jadi
  * pembagiannya dilakukan di sini - bukan di dalam masing-masing driver -
  * supaya penambahan sumber interrupt berikutnya (DRDY ADS131M04 di PA8)
  * cukup menambah satu cabang tanpa mengubah driver yang sudah jalan.
  *
  * Isi callback harus tetap pendek: driver hanya menandai flag, transaksi
  * bus dikerjakan di main loop.
  *
  * @param  GPIO_Pin pin yang memicu interrupt
  */
void HAL_GPIO_EXTI_Callback(uint16_t GPIO_Pin)
{
  switch (GPIO_Pin)
  {
    case DI_IOEXP_INTA_Pin:   /* PB4 - INTA MCP23S17 digital input (port A) */
    case DI_IOEXP_INTB_Pin:   /* PB5 - INTB MCP23S17 digital input (port B) */
      DIN_OnInterrupt(GPIO_Pin);
      break;

    case DI_ADC_DRDY_Pin:     /* PA8 - DRDY ADS131M04, 1 frame siap dibaca  */
      ADC_OnDrdy();
      break;

    default:
      break;
  }
}

/**
  * @brief  Callback DMA transfer SPI selesai.
  *
  * Sama seperti EXTI, HAL cuma punya satu simbol callback untuk semua handle
  * SPI - kalau tiap driver mendefinisikannya sendiri akan bentrok saat link.
  * Jadi pembagiannya di sini, berdasarkan instance.
  *
  * @param  hspi handle SPI yang menyelesaikan transfer
  */
void HAL_SPI_TxRxCpltCallback(SPI_HandleTypeDef *hspi)
{
  if (hspi->Instance == SPI1)
  {
    ADC_OnFrameComplete();
  }
}

/**
  * @brief  Callback error SPI - lepaskan CS supaya bus tidak tertinggal
  *         dalam kondisi setengah jalan.
  */
void HAL_SPI_ErrorCallback(SPI_HandleTypeDef *hspi)
{
  if (hspi->Instance == SPI1)
  {
    ADC_OnSpiError();
  }
}

/**
  * @brief  Frame UART selesai - dipicu IDLE line atau buffer penuh.
  *         Inilah pembatas frame Modbus RTU di project ini.
  * @param  Size jumlah byte yang diterima
  */
void HAL_UARTEx_RxEventCallback(UART_HandleTypeDef *huart, uint16_t Size)
{
  if (huart->Instance == USART6)
  {
    MB_SlaveOnRxEvent(&g_mb_hmi, Size);
  }
  else if (huart->Instance == USART2)
  {
    MBM_OnRxEvent(Size);
  }
  else if (huart->Instance == USART1)
  {
    MB_SlaveOnRxEvent(&g_mb_opi, Size);
  }
  else
  {
    /* tidak ada UART lain yang dipakai */
  }
}

/**
  * @brief  Transmisi UART selesai.
  *
  * HAL memanggil ini setelah flag TC, bukan TXE - jadi aman menurunkan DE
  * transceiver RS485 di sini tanpa memotong byte terakhir.
  */
void HAL_UART_TxCpltCallback(UART_HandleTypeDef *huart)
{
  if (huart->Instance == USART6)
  {
    MB_SlaveOnTxComplete(&g_mb_hmi);
  }
  else if (huart->Instance == USART2)
  {
    MBM_OnTxComplete();
  }
  else if (huart->Instance == USART1)
  {
    MB_SlaveOnTxComplete(&g_mb_opi);
  }
  else
  {
    /* tidak ada UART lain yang dipakai */
  }
}

/**
  * @brief  Error UART (framing / overrun / noise).
  *
  * Di jalur RS485 hal ini wajar terjadi. Yang penting penerimaan di-arm
  * ulang - tanpa itu slave jadi tuli permanen setelah satu derau.
  */
void HAL_UART_ErrorCallback(UART_HandleTypeDef *huart)
{
  if (huart->Instance == USART6)
  {
    MB_SlaveOnUartError(&g_mb_hmi);
  }
  else if (huart->Instance == USART2)
  {
    MBM_OnUartError();
  }
  else if (huart->Instance == USART1)
  {
    MB_SlaveOnUartError(&g_mb_opi);
  }
  else
  {
    /* tidak ada UART lain yang dipakai */
  }
}

/* USER CODE END 4 */

void Error_Handler(void)
{
  __disable_irq();
  while (1)
  {
  }
}
